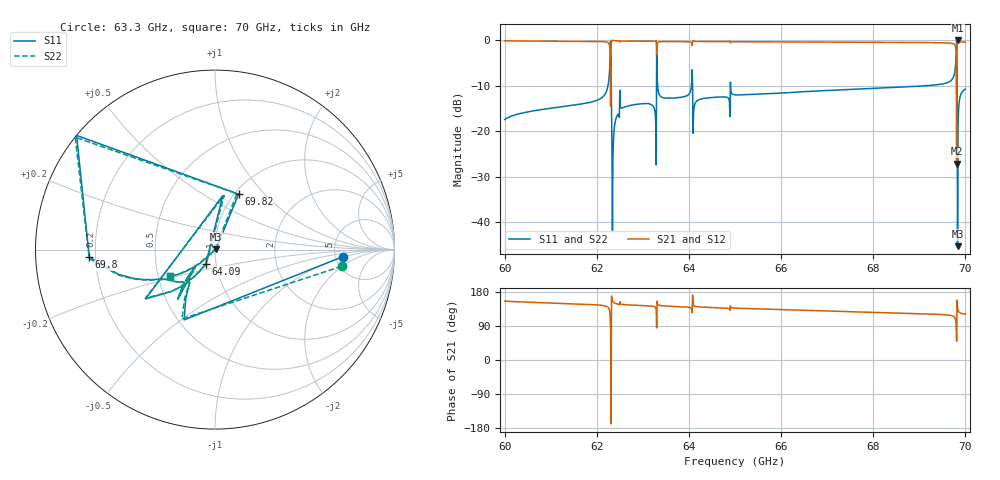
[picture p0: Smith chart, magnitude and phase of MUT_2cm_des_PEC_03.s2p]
! TOUCHSTONE file generated by CST MICROWAVE STUDIO
! Date and time: Tue Feb 27 23:50:38 2024
! Project name: material_desal.cst
! Header version: 2018
! Port assignment regex: !\s*Touchstone port\s*([0-9]+)\s*=\s*(CST MWS port|CST DS port)\s*([0-9]+|Zmin|Zmax)\s*\(\"(.*)\"\)(\s*mode\s*([0-9]+))?.*
! Touchstone port assignment:
! Touchstone port 1 = CST MWS port 1 ("")
! Touchstone port 2 = CST MWS port 2 ("")
# GHz S MA R 376.7
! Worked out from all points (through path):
!   1001 points, 60 GHz to 70 GHz, reference 376.7 ohm
!   highest |S21| = 0.00 dB at 69.83 GHz (marker M1); lowest = -27.2 dB at 69.81 GHz (marker M2)
!   lowest |S11| = -45.4 dB at 69.83 GHz (marker M3), VSWR 1.01, Z = 381 + j1.37 ohm
!   |S11| at or under -10 dB: start of sweep to 62.24 GHz; 62.32 GHz to 63.3 GHz (981.5 MHz wide, 1.56 % of centre); 64.9 GHz to 69.11 GHz (4.207 GHz wide, 6.28 % of centre)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
!   |S22| runs from -46.4 to 0.0 dB; largest |S21 - S12| = 0.0031
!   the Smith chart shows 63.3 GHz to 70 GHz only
!   S11 on the Smith chart (normalised r, x): 63.3 GHz: 5.80, -0.94; 64.09 GHz: 0.89, -0.14; 69.8 GHz: 0.18, -0.03; 69.82 GHz: 1.04, +0.73; 70 GHz: 0.58, -0.19
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60  0.1344 -114.5  0.9911 155.5  0.9909 155.5  0.1343 -114.5
61.67  0.1997 -122.5  0.9799 147.5  0.9798 147.5  0.1998 -122.5
62.14  0.2412 -126.2  0.9706 143.8  0.9705 143.8  0.2411 -126.2
62.26  0.3601 -133.6  0.9331 136.3  0.9329 136.3  0.3601 -133.8
62.35  0.04856 -116.8  0.9988 154.3  0.9988 154.3  0.04851 -114.5
62.38  0.1078 -119.6  0.9942 150.8  0.9942 150.8  0.1078 -118.8
62.55  0.1805 -123.3  0.9837 146.7  0.9836 146.7  0.1805 -123.2
63.24  0.1824 -129.3  0.9832 141.0  0.9831 141.0  0.1828 -128.4
63.3  0.7124 -3.2  0.701 84.7  0.7008 84.8  0.7116 -7.5
63.34  0.2671 -124.3  0.9637 145.4  0.9637 145.4  0.2667 -124.9
64.09  0.0948 -122.8  0.9955 147.9  0.9954 147.9  0.09481 -121.4
65  0.2517 -133.1  0.9676 137.0  0.9682 136.9  0.2517 -133.0
66.67  0.2755 -139.3  0.9611 130.7  0.9617 130.7  0.2757 -139.1
68.34  0.3017 -145.3  0.9536 124.8  0.9533 124.8  0.3016 -145.1
69.76  0.4235 -156.8  0.9057 113.4  0.9059 113.4  0.4235 -156.4
69.8  0.7018 -176.5  0.7116 93.8  0.7123 93.8  0.7021 -175.9
69.81  0.9998 140.5  0.04377 49.8  0.04372 50.5  0.9993 141.2
69.82  0.3357 67.0  0.9441 157.9  0.9425 157.8  0.3346 68.5
69.83  0.005396 19.5  1 138.5  1 138.5  0.004772 71.8
69.88  0.2338 -145.3  0.9725 124.6  0.9723 124.6  0.2338 -145.4
69.9  0.2537 -146.6  0.9674 123.4  0.9673 123.4  0.2537 -146.6
70  0.2907 -149.1  0.9567 120.9  0.9568 120.9  0.2906 -149.1
